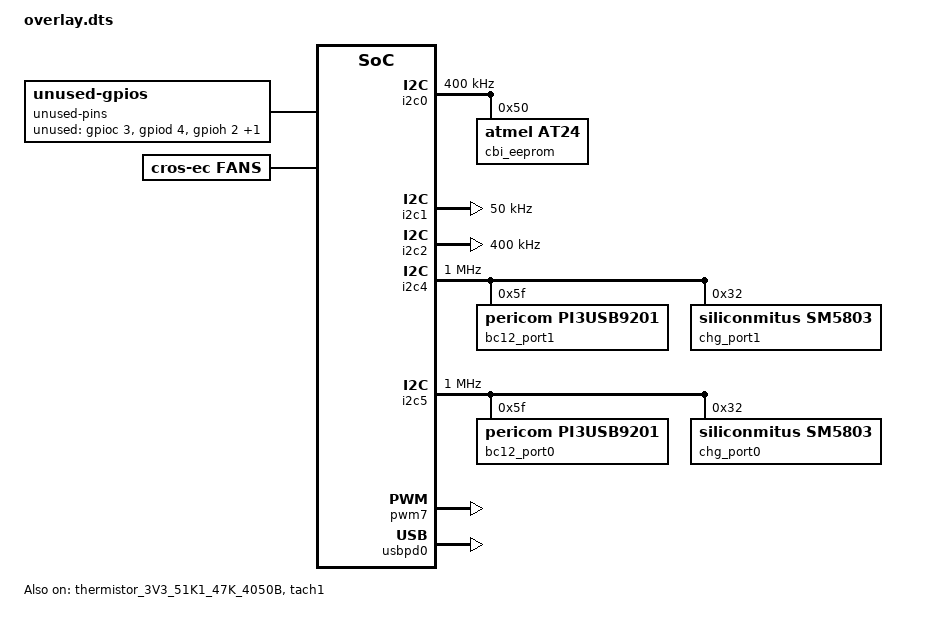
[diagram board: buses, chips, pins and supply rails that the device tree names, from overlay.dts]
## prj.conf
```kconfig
# Copyright 2021 The ChromiumOS Authors
# Use of this source code is governed by a BSD-style license that can be
# found in the LICENSE file.

# EC chip configuration: IT83102
CONFIG_BOARD_JOXER=y
CONFIG_CROS_FLASH_IT8XXX2=y
CONFIG_CROS_SYSTEM_IT8XXX2=y
CONFIG_ESPI_IT8XXX2=y
CONFIG_FPU=y
# rv32iafc/ilp32f is not supported by the toolchain, so use soft-float
CONFIG_FLOAT_HARD=n
CONFIG_TACH_IT8XXX2=y

# Allow more time for the charger to stabilise
CONFIG_PLATFORM_EC_POWER_BUTTON_INIT_TIMEOUT=5

# RAM savings, since this chip is tight on available RAM.
# It's useful to store a lot of logs for the host to request, but the default 4k
# is pretty large.
CONFIG_PLATFORM_EC_HOSTCMD_CONSOLE_BUF_SIZE=2048
# Our threads have short names, save 20 bytes per thread
CONFIG_THREAD_MAX_NAME_LEN=12
# Task stacks, tuned by experiment. Most expanded to prevent overflow, and a few
# shrunk to save RAM.
CONFIG_AP_PWRSEQ_STACK_SIZE=1408
CONFIG_TASK_HOSTCMD_STACK_SIZE=1280
CONFIG_TASK_MOTIONSENSE_STACK_SIZE=1280
CONFIG_TASK_PD_INT_STACK_SIZE=1280
CONFIG_TASK_DPS_STACK_SIZE=1408

# Ensure recovery key combination (esc+refresh+power) is reliable: b/236580049
CONFIG_PLATFORM_EC_KEYBOARD_PWRBTN_ASSERTS_KSI3=y
CONFIG_PLATFORM_EC_KEYBOARD_REFRESH_ROW3=y

# Sensor drivers
CONFIG_PLATFORM_EC_ACCELGYRO_BMI_COMM_I2C=y
CONFIG_PLATFORM_EC_ACCELGYRO_BMI3XX=y
CONFIG_PLATFORM_EC_ACCEL_BMA4XX=y

# TCPC+PPC: ITE on-chip for C0, PS8745 for optional C1
CONFIG_PLATFORM_EC_USB_PD_TCPM_ITE_ON_CHIP=y
CONFIG_PLATFORM_EC_USB_PD_TCPM_DRIVER_IT8XXX2=y
CONFIG_PLATFORM_EC_USB_PD_TCPM_PS8745=y
CONFIG_PLATFORM_EC_USB_PD_VBUS_DETECT_CHARGER=y
# SM5803 controls power path on both ports
CONFIG_PLATFORM_EC_USB_PD_5V_CHARGER_CTRL=y
# SM5803 can discharge VBUS, but not via one of the available options;
# pd_power_supply_reset() does discharge.
CONFIG_PLATFORM_EC_USB_PD_DISCHARGE=n
# The EC is put into programming mode while firmware is running
# (after releasing reset) and PD after being reset will hard-reset
# the port if a contract was already set up. If the system has no
# battery, this will prevent programming because it will brown out
# the system and reset. Inserting a delay gives the programmer more
# time to put the EC into programming mode.
CONFIG_PLATFORM_EC_USB_PD_STARTUP_DELAY_MS=2000

# Charger driver and configuration
CONFIG_PLATFORM_EC_OCPC=y
CONFIG_PLATFORM_EC_CHARGER_SM5803=y
CONFIG_PLATFORM_EC_OCPC_DEF_RBATT_MOHMS=21
CONFIG_PLATFORM_EC_PD_MAX_VOLTAGE_MV=15000

# VSENSE: PP3300_S5 & PP1050_PROC
CONFIG_VCMP_IT8XXX2=y
CONFIG_SENSOR=y
CONFIG_SENSOR_SHELL=n

# LED
CONFIG_PLATFORM_EC_LED_PWM=n
CONFIG_PLATFORM_EC_LED_COMMON=y
```

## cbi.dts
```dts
/* Copyright 2022 The Chromium OS Authors. All rights reserved.
 * Use of this source code is governed by a BSD-style license that can be
 * found in the LICENSE file.
 */

/ {
	nissa-fw-config {
		compatible = "cros-ec,cbi-fw-config";

		/*
		 * FW_CONFIG field to indicate which keyboard layout
		 * should be used.
		 */
		keyboard {
			enum-name = "FW_KB_LAYOUT";
			start = <3>;
			size = <2>;

			layout-1 {
				compatible = "cros-ec,cbi-fw-config-value";
				enum-name = "FW_KB_LAYOUT_DEFAULT";
				value = <0>;
			};
			layout-2 {
				compatible = "cros-ec,cbi-fw-config-value";
				enum-name = "FW_KB_LAYOUT_US2";
				value = <1>;
			};
		};
	};
};
```

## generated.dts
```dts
/* Copyright 2022 The Chromium OS Authors. All rights reserved.
 * Use of this source code is governed by a BSD-style license that can be
 * found in the LICENSE file.
 *
 * This file is auto-generated - do not edit!
 */

/ {

	named-adc-channels {
		compatible = "named-adc-channels";

		adc_ec_vsense_pp1050_proc: ec_vsense_pp1050_proc {
			enum-name = "ADC_PP1050_PROC";
			io-channels = <&adc0 14>;
		};
		adc_ec_vsense_pp3300_s5: ec_vsense_pp3300_s5 {
			enum-name = "ADC_PP3300_S5";
			io-channels = <&adc0 0>;
		};
		adc_temp_sensor_1: temp_sensor_1 {
			enum-name = "ADC_TEMP_SENSOR_1";
			io-channels = <&adc0 2>;
		};
		adc_temp_sensor_2: temp_sensor_2 {
			enum-name = "ADC_TEMP_SENSOR_2";
			io-channels = <&adc0 3>;
		};
		adc_temp_sensor_3: temp_sensor_3 {
			enum-name = "ADC_TEMP_SENSOR_3";
			io-channels = <&adc0 13>;
		};
	};

	named-gpios {
		compatible = "named-gpios";

		gpio_acc_int_l: acc_int_l {
			gpios = <&gpioc 0 GPIO_INPUT>;
		};
		gpio_all_sys_pwrgd: all_sys_pwrgd {
			gpios = <&gpiob 7 GPIO_INPUT>;
		};
		gpio_ccd_mode_odl: ccd_mode_odl {
			gpios = <&gpioh 5 GPIO_INPUT>;
			enum-name = "GPIO_CCD_MODE_ODL";
		};
		gpio_cpu_c10_gate_l: cpu_c10_gate_l {
			gpios = <&gpiog 1 GPIO_INPUT>;
		};
		gpio_ec_battery_pres_odl: ec_battery_pres_odl {
			gpios = <&gpioi 4 GPIO_INPUT>;
			enum-name = "GPIO_BATT_PRES_ODL";
		};
		gpio_ec_cbi_wp: ec_cbi_wp {
			gpios = <&gpioj 5 GPIO_OUTPUT>;
		};
		gpio_ec_edp_bl_en_od: ec_edp_bl_en_od {
			gpios = <&gpiok 4 GPIO_ODR_HIGH>;
			enum-name = "GPIO_ENABLE_BACKLIGHT";
		};
		gpio_ec_entering_rw: ec_entering_rw {
			gpios = <&gpioc 7 GPIO_OUTPUT>;
			enum-name = "GPIO_ENTERING_RW";
		};
		gpio_ec_gsc_packet_mode: ec_gsc_packet_mode {
			gpios = <&gpioh 1 GPIO_OUTPUT>;
			enum-name = "GPIO_PACKET_MODE_EN";
		};
		gpio_ec_pch_wake_odl: ec_pch_wake_odl {
			gpios = <&gpiob 2 GPIO_ODR_LOW>;
		};
		gpio_ec_prochot_odl: ec_prochot_odl {
			gpios = <&gpioi 1 GPIO_ODR_HIGH>;
			enum-name = "GPIO_CPU_PROCHOT";
		};
		gpio_ec_soc_dsw_pwrok: ec_soc_dsw_pwrok {
			gpios = <&gpiol 7 GPIO_OUTPUT>;
		};
		gpio_ec_soc_hdmi_hpd: ec_soc_hdmi_hpd {
			gpios = <&gpiok 7 GPIO_OUTPUT>;
		};
		gpio_ec_soc_int_odl: ec_soc_int_odl {
			gpios = <&gpiod 5 GPIO_ODR_HIGH>;
			enum-name = "GPIO_EC_INT_L";
		};
		gpio_ec_soc_pch_pwrok_od: ec_soc_pch_pwrok_od {
			gpios = <&gpiod 6 GPIO_ODR_HIGH>;
		};
		gpio_ec_soc_pwr_btn_odl: ec_soc_pwr_btn_odl {
			gpios = <&gpiob 6 GPIO_ODR_HIGH>;
			enum-name = "GPIO_PCH_PWRBTN_L";
		};
		gpio_ec_soc_rsmrst_l: ec_soc_rsmrst_l {
			gpios = <&gpioh 0 GPIO_OUTPUT>;
		};
		gpio_ec_soc_rtcrst: ec_soc_rtcrst {
			gpios = <&gpiok 2 GPIO_OUTPUT>;
		};
		gpio_ec_soc_sys_pwrok: ec_soc_sys_pwrok {
			gpios = <&gpiof 2 GPIO_OUTPUT>;
		};
		gpio_ec_soc_vccst_pwrgd_od: ec_soc_vccst_pwrgd_od {
			gpios = <&gpioe 5 GPIO_ODR_HIGH>;
		};
		gpio_ec_wp_odl: ec_wp_odl {
			gpios = <&gpioa 6 (GPIO_INPUT | GPIO_ACTIVE_LOW)>;
		};
		gpio_en_kb_bl: en_kb_bl {
			gpios = <&gpioj 3 GPIO_OUTPUT>;
			enum-name = "GPIO_EN_KEYBOARD_BACKLIGHT";
		};
		gpio_en_pp3300_s5: en_pp3300_s5 {
			gpios = <&gpioc 5 GPIO_OUTPUT>;
			enum-name = "GPIO_TEMP_SENSOR_POWER";
		};
		gpio_en_pp5000_pen_x: en_pp5000_pen_x {
			gpios = <&gpiob 5 GPIO_OUTPUT>;
		};
		gpio_en_pp5000_s5: en_pp5000_s5 {
			gpios = <&gpiok 5 GPIO_OUTPUT>;
		};
		gpio_en_slp_z: en_slp_z {
			gpios = <&gpiok 3 GPIO_OUTPUT>;
		};
		gpio_en_usb_a0_vbus: en_usb_a0_vbus {
			gpios = <&gpiol 6 GPIO_OUTPUT>;
		};
		gpio_en_usb_c0_cc1_vconn: en_usb_c0_cc1_vconn {
			gpios = <&gpioh 4 GPIO_OUTPUT>;
		};
		gpio_en_usb_c0_cc2_vconn: en_usb_c0_cc2_vconn {
			gpios = <&gpioh 6 GPIO_OUTPUT>;
		};
		gpio_gsc_ec_pwr_btn_odl: gsc_ec_pwr_btn_odl {
			gpios = <&gpioe 2 GPIO_INPUT_PULL_UP>;
			enum-name = "GPIO_POWER_BUTTON_L";
		};
		gpio_hdmi_sel: hdmi_sel {
			gpios = <&gpioc 6 GPIO_OUTPUT>;
		};
		gpio_imu_int_l: imu_int_l {
			gpios = <&gpioj 0 GPIO_INPUT>;
		};
		gpio_imvp91_vrrdy_od: imvp91_vrrdy_od {
			gpios = <&gpioj 4 GPIO_INPUT>;
		};
		gpio_lid_open: lid_open {
			gpios = <&gpiof 3 GPIO_INPUT>;
			enum-name = "GPIO_LID_OPEN";
		};
		gpio_pen_detect_odl: pen_detect_odl {
			gpios = <&gpioj 1 GPIO_INPUT_PULL_UP>;
		};
		gpio_pg_pp1050_mem_s3_od: pg_pp1050_mem_s3_od {
			gpios = <&gpiod 3 GPIO_INPUT>;
		};
		gpio_pg_pp5000_s5_od: pg_pp5000_s5_od {
			gpios = <&gpioe 3 GPIO_INPUT>;
		};
		gpio_rsmrst_pwrgd_l: rsmrst_pwrgd_l {
			gpios = <&gpioe 1 GPIO_INPUT_PULL_UP>;
		};
		gpio_slp_s0_l: slp_s0_l {
			gpios = <&gpioe 4 GPIO_INPUT>;
		};
		gpio_slp_s3_l: slp_s3_l {
			gpios = <&gpioh 3 GPIO_INPUT>;
		};
		gpio_slp_s4_l: slp_s4_l {
			gpios = <&gpioi 5 GPIO_INPUT>;
		};
		gpio_slp_sus_l: slp_sus_l {
			gpios = <&gpiog 2 GPIO_INPUT>;
		};
		gpio_sub_usb_a1_ilimit_sdp: sub_usb_a1_ilimit_sdp {
			gpios = <&gpiof 1 GPIO_OUTPUT>;
			enum-name = "GPIO_USB2_ILIM_SEL";
		};
		gpio_sys_rst_odl: sys_rst_odl {
			gpios = <&gpiod 1 GPIO_ODR_HIGH>;
		};
		gpio_tablet_mode_l: tablet_mode_l {
			gpios = <&gpioj 7 GPIO_INPUT>;
			enum-name = "GPIO_TABLET_MODE_L";
		};
		gpio_usb_a0_ilimit_sdp: usb_a0_ilimit_sdp {
			gpios = <&gpiol 5 GPIO_OUTPUT>;
			enum-name = "GPIO_USB1_ILIM_SEL";
		};
		gpio_usb_c0_frs: usb_c0_frs {
			gpios = <&gpioc 4 GPIO_OUTPUT>;
		};
		gpio_usb_c0_int_odl: usb_c0_int_odl {
			gpios = <&gpiok 0 GPIO_INPUT_PULL_UP>;
		};
		gpio_vccin_aux_vid0: vccin_aux_vid0 {
			gpios = <&gpiod 0 GPIO_INPUT>;
		};
		gpio_vccin_aux_vid1: vccin_aux_vid1 {
			gpios = <&gpiok 1 GPIO_INPUT>;
		};
		gpio_voldn_btn_odl: voldn_btn_odl {
			gpios = <&gpioi 6 GPIO_INPUT_PULL_UP>;
			enum-name = "GPIO_VOLUME_DOWN_L";
		};
		gpio_volup_btn_odl: volup_btn_odl {
			gpios = <&gpioi 7 GPIO_INPUT_PULL_UP>;
			enum-name = "GPIO_VOLUME_UP_L";
		};
	};

	named-i2c-ports {
		compatible = "named-i2c-ports";

		i2c_ec_i2c_eeprom: ec_i2c_eeprom {
			i2c-port = <&i2c0>;
			enum-names = "I2C_PORT_EEPROM";
		};
		i2c_ec_i2c_batt: ec_i2c_batt {
			i2c-port = <&i2c1>;
			enum-names = "I2C_PORT_BATTERY";
		};
		i2c_ec_i2c_sensor: ec_i2c_sensor {
			i2c-port = <&i2c2>;
			enum-names = "I2C_PORT_SENSOR";
		};
		i2c_ec_i2c_sub_usb_c1: ec_i2c_sub_usb_c1 {
			i2c-port = <&i2c4>;
			enum-names = "I2C_PORT_USB_C1_TCPC";
		};
		i2c_ec_i2c_usb_c0: ec_i2c_usb_c0 {
			i2c-port = <&i2c5>;
			enum-names = "I2C_PORT_USB_C0_TCPC";
		};
	};
};

&adc0 {
	status = "okay";
};

&i2c0 {
	status = "okay";
};

&i2c1 {
	status = "okay";
};

&i2c2 {
	status = "okay";
};

&i2c4 {
	status = "okay";
};

&i2c5 {
	status = "okay";
};
```

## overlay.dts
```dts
/* Copyright 2021 The Chromium OS Authors. All rights reserved.
 * Use of this source code is governed by a BSD-style license that can be
 * found in the LICENSE file.
 */

#include <cros/thermistor/thermistor.dtsi>

/ {
	aliases {
		gpio-cbi-wp = &gpio_ec_cbi_wp;
		gpio-wp = &gpio_ec_wp_odl;
		int-wp = &int_wp_l;
	};

	ec-console {
		compatible = "ec-console";
		disabled = "events", "lpc", "hostcmd";
	};

	batteries {
		default_battery: cosmx {
			compatible = "cosmx,gh02047xl", "battery-smart";
		};
		dynapack_atl_gh02047xl {
			compatible = "dynapack,atl_gh02047xl", "battery-smart";
		};
		dynapack_cosmx_gh02047xl {
			compatible = "dynapack,cosmx_gh02047xl", "battery-smart";
		};
		smp_coslight_gh02047xl {
			compatible = "smp,coslight_gh02047xl", "battery-smart";
		};
		smp_highpower_gh02047xl {
			compatible = "smp,highpower_gh02047xl", "battery-smart";
		};
	};

	hibernate-wake-pins {
		compatible = "cros-ec,hibernate-wake-pins";
		wakeup-irqs = <
			&int_power_button
			&int_lid_open
		>;
	};

	gpio-interrupts {
		compatible = "cros-ec,gpio-interrupts";

		int_power_button: power_button {
			irq-pin = <&gpio_gsc_ec_pwr_btn_odl>;
			flags = <GPIO_INT_EDGE_BOTH>;
			handler = "power_button_interrupt";
		};
		int_vol_down: vol_down {
			irq-pin = <&gpio_voldn_btn_odl>;
			flags = <GPIO_INT_EDGE_BOTH>;
			handler = "button_interrupt";
		};
		int_vol_up: vol_up {
			irq-pin = <&gpio_volup_btn_odl>;
			flags = <GPIO_INT_EDGE_BOTH>;
			handler = "button_interrupt";
		};
		int_wp_l: wp_l {
			irq-pin = <&gpio_ec_wp_odl>;
			flags = <GPIO_INT_EDGE_BOTH>;
			handler = "switch_interrupt";
		};
		int_lid_open: lid_open {
			irq-pin = <&gpio_lid_open>;
			flags = <GPIO_INT_EDGE_BOTH>;
			handler = "lid_interrupt";
		};
		int_tablet_mode: tablet_mode {
			irq-pin = <&gpio_tablet_mode_l>;
			flags = <GPIO_INT_EDGE_BOTH>;
			handler = "gmr_tablet_switch_isr";
		};
		int_imu: ec_imu {
		  irq-pin = <&gpio_imu_int_l>;
		  flags = <GPIO_INT_EDGE_FALLING>;
		  handler = "bmi3xx_interrupt";
		};
		int_usb_c0: usb_c0 {
			irq-pin = <&gpio_usb_c0_int_odl>;
			flags = <GPIO_INT_EDGE_FALLING>;
			handler = "usb_c0_interrupt";
		};
		int_usb_c1: usb_c1 {
			irq-pin = <&gpio_sb_1>;
			flags = <GPIO_INT_EDGE_FALLING>;
			handler = "usb_c1_interrupt";
		};
	};

	unused-pins {
		compatible = "unused-gpios";
		unused-gpios = <&gpioc 3 0>,
			       <&gpiod 4 0>,
			       <&gpioh 2 0>,
			       <&gpiol 4 0>;
	};

	named-gpios {
		/*
		 * EC doesn't take any specific action on CC/SBU disconnect due to
		 * fault, but this definition is useful for hardware testing.
		 */
		gpio_usb_c0_prot_fault_odl: usb_c0_prot_fault_odl {
			gpios = <&gpiok 6 GPIO_INPUT_PULL_UP>;
		};

		gpio_sb_1: sb_1 {
			gpios = <&gpioe 6 0>;
			no-auto-init;
		};
		gpio_sb_2: sb_2 {
			gpios = <&gpiof 0 0>;
			no-auto-init;
		};

		gpio_sb_3: sb_3 {
			gpios = <&gpioe 7 0>;
			no-auto-init;
		};
		gpio_sb_4: sb_4 {
			gpios = <&gpioe 0 0>;
			no-auto-init;
		};
		gpio_fan_enable: fan-enable {
			gpios = <&gpiol 4 GPIO_OUTPUT>;
			no-auto-init;
		};
		gpio_power_led_gate: power_led_gate {
			gpios = <&gpiof 1 GPIO_OUTPUT_LOW>;
		};
		gpio_led_1_odl: led_1_odl {
			gpios = <&gpioa 1 GPIO_OUTPUT_HIGH>;
		};
		gpio_led_2_odl: led_2_odl {
			gpios = <&gpioa 2 GPIO_OUTPUT_HIGH>;
		};
		gpio_led_3_l: led_3_l {
			gpios = <&gpiol 2 GPIO_OUTPUT_HIGH>;
		};
		gpio_led_4_l: led_4_l {
			gpios = <&gpiol 3 GPIO_OUTPUT_HIGH>;
		};
	};

	/*
	 * Aliases used for sub-board GPIOs.
	 */
	aliases {
	  /* USB-C: interrupt input. I2C pins are on i2c_ec_i2c_sub_usb_c1 */
		gpio-usb-c1-int-odl = &gpio_sb_1;
		/*
		 * USB-A: VBUS enable output
		 * LTE: power enable output
		 */
		gpio-en-usb-a1-vbus = &gpio_sb_2;
		/*
		 * HDMI: power enable output, HDMI enable output,
		 * and HPD input
		 */
		gpio-en-rails-odl = &gpio_sb_1;
		gpio-hdmi-en-odl = &gpio_sb_4;
		gpio-hpd-odl = &gpio_sb_3;
		/*
		 * Enable S5 rails for LTE sub-board
		 */
		gpio-en-sub-s5-rails = &gpio_sb_2;
	};

	named-temp-sensors {
		memory {
			compatible = "cros-ec,temp-sensor-thermistor",
				     "cros-ec,temp-sensor";
			thermistor = <&thermistor_3V3_51K1_47K_4050B>;
			enum-name = "TEMP_SENSOR_1";
			temp_fan_off = <35>;
			temp_fan_max = <60>;
			temp_host_high = <85>;
			temp_host_halt = <90>;
			temp_host_release_high = <80>;
			adc = <&adc_temp_sensor_1>;
			power-good-pin = <&gpio_ec_soc_dsw_pwrok>;
		};
		charger {
			compatible = "cros-ec,temp-sensor-thermistor",
				     "cros-ec,temp-sensor";
			thermistor = <&thermistor_3V3_51K1_47K_4050B>;
			enum-name = "TEMP_SENSOR_CHARGER";
			temp_fan_off = <35>;
			temp_fan_max = <60>;
			temp_host_high = <85>;
			temp_host_halt = <90>;
			temp_host_release_high = <80>;
			adc = <&adc_temp_sensor_2>;
			power-good-pin = <&gpio_ec_soc_dsw_pwrok>;
		};
		ambient {
			compatible = "cros-ec,temp-sensor-thermistor",
				     "cros-ec,temp-sensor";
			thermistor = <&thermistor_3V3_51K1_47K_4050B>;
			enum-name = "TEMP_SENSOR_AMB";
			temp_fan_off = <35>;
			temp_fan_max = <60>;
			temp_host_high = <85>;
			temp_host_halt = <90>;
			temp_host_release_high = <80>;
			adc = <&adc_temp_sensor_3>;
			power-good-pin = <&gpio_ec_soc_dsw_pwrok>;
		};
	};

	usba {
		compatible = "cros-ec,usba-port-enable-pins";
		/*
		 * sb_2 is only configured as GPIO when USB-A1 is present,
		 * but it's still safe to control when disabled.
		 *
		 * ILIM_SEL pins are referred to by legacy enum name,
		 * GPIO_USB*_ILIM_SEL. The one for port A1 is unused on
		 * sub-boards that don't have USB-A so is safe to control
		 * regardless of system configuration.
		 */
		enable-pins = <&gpio_en_usb_a0_vbus &gpio_sb_2>;
		status = "okay";
	};

	usbc {
		#address-cells = <1>;
		#size-cells = <0>;

		port0@0 {
			compatible = "named-usbc-port";
			reg = <0>;
			bc12 = <&bc12_port0>;
			chg = <&chg_port0>;
			usb-mux-chain-0 {
				compatible = "cros-ec,usb-mux-chain";
				usb-muxes = <&virtual_mux_0>;
			};
		};
		port0-muxes {
			virtual_mux_0: virtual-mux-0 {
				compatible = "cros-ec,usbc-mux-virtual";
			};
		};
		port1@1 {
			compatible = "named-usbc-port";
			reg = <1>;
			bc12 = <&bc12_port1>;
			chg = <&chg_port1>;
			usb-mux-chain-1 {
				compatible = "cros-ec,usb-mux-chain";
				usb-muxes = <&virtual_mux_1 &tcpci_mux_1>;
			};
			usb_mux_chain_1_no_mux: usb-mux-chain-1-no-mux {
				compatible = "cros-ec,usb-mux-chain";
				alternative-chain;
				usb-muxes = <&virtual_mux_1>;
			};
		};
		port1-muxes {
			virtual_mux_1: virtual-mux-1 {
				compatible = "cros-ec,usbc-mux-virtual";
			};
			tcpci_mux_1: tcpci-mux-1 {
				compatible = "parade,usbc-mux-ps8xxx";
			};
		};
	};
	fans {
		compatible = "cros-ec,fans";

		fan_0 {
			pwms = <&pwm7 PWM_CHANNEL_7 PWM_KHZ(30) PWM_POLARITY_NORMAL>;
			tach = <&tach1>;
			rpm_min = <1500>;
			rpm_start = <1500>;
			rpm_max = <6500>;
			enable_gpio = <&gpio_fan_enable>;
		};
	};
};

&gpio_acc_int_l {
	gpios = <&gpioc 0 (GPIO_INPUT | GPIO_VOLTAGE_1P8)>;
};
&gpio_imu_int_l {
	gpios = <&gpioj 0 (GPIO_INPUT | GPIO_VOLTAGE_1P8)>;
};
&gpio_vccin_aux_vid0 {
	gpios = <&gpiod 0 (GPIO_INPUT | GPIO_VOLTAGE_1P8)>;
};
&gpio_vccin_aux_vid1 {
	gpios = <&gpiok 1 (GPIO_INPUT | GPIO_VOLTAGE_1P8)>;
};

&gpio_ec_prochot_odl {
	gpios = <&gpioi 1 (GPIO_ODR_HIGH | GPIO_VOLTAGE_1P8)>;
};

&thermistor_3V3_51K1_47K_4050B {
	status = "okay";
};

&adc_ec_vsense_pp3300_s5 {
	/*
	 * Voltage divider on input has 47k upper and 220k lower legs with 3 V
	 * full-scale reading on the ADC. Apply the largest possible multiplier
	 * (without overflowing int32) to get the best possible approximation
	 * of the actual ratio, but derate by a factor of two to ensure
	 * unexpectedly high values won't overflow.
	 */
	mul = <(715828 / 2)>;
	div = <(589820 / 2)>;
};

&adc0 {
	pinctrl-0 = <&adc0_ch0_gpi0_default
		     &adc0_ch2_gpi2_default
		     &adc0_ch3_gpi3_default
		     &adc0_ch13_gpl0_default
		     &adc0_ch14_gpl1_default>;
	pinctrl-names = "default";
};

&pinctrl {
	i2c2_clk_gpf6_default: i2c2_clk_gpf6_default {
		gpio-voltage = "1v8";
	};
	i2c2_data_gpf7_default: i2c2_data_gpf7_default {
		gpio-voltage = "1v8";
	};
};


&i2c0 {
	label = "I2C_EEPROM";
	clock-frequency = <I2C_BITRATE_FAST>;

	cbi_eeprom: eeprom@50 {
		compatible = "atmel,at24";
		reg = <0x50>;
		size = <2048>;
		pagesize = <16>;
		address-width = <8>;
		timeout = <5>;
	};
	pinctrl-0 = <&i2c0_clk_gpb3_default
		     &i2c0_data_gpb4_default>;
	pinctrl-names = "default";
};

&i2c1 {
	label = "I2C_BATTERY";
	clock-frequency = <50000>;
	pinctrl-0 = <&i2c1_clk_gpc1_default
		     &i2c1_data_gpc2_default>;
	pinctrl-names = "default";
};

&i2c2 {
	label = "I2C_SENSOR";
	clock-frequency = <I2C_BITRATE_FAST>;
	pinctrl-0 = <&i2c2_clk_gpf6_default
		     &i2c2_data_gpf7_default>;
	pinctrl-names = "default";
};

&i2c4 {
	label = "I2C_SUB_C1_TCPC";
	clock-frequency = <I2C_BITRATE_FAST_PLUS>;
	pinctrl-0 = <&i2c4_clk_gpe0_default
		     &i2c4_data_gpe7_default>;
	pinctrl-names = "default";

	bc12_port1: pi3usb9201@5f {
		compatible = "pericom,pi3usb9201";
		status = "okay";
		reg = <0x5f>;
	};

	chg_port1: sm5803@32 {
		compatible = "siliconmitus,sm5803";
		status = "okay";
		reg = <0x32>;
	};
};

&i2c_ec_i2c_sub_usb_c1 {
	/*
	 * Dynamic speed setting is used for AP-controlled firmware update
	 * of PS8745 TCPC/redriver: the AP lowers speed to 400 kHz in order
	 * to use more efficient window programming, then sets it back when
	 * done.
	 */
	dynamic-speed;
};

&i2c5 {
	label = "I2C_USB_C0_TCPC";
	clock-frequency = <I2C_BITRATE_FAST_PLUS>;
	pinctrl-0 = <&i2c5_clk_gpa4_default
		     &i2c5_data_gpa5_default>;
	pinctrl-names = "default";

	bc12_port0: pi3usb9201@5f {
		compatible = "pericom,pi3usb9201";
		status = "okay";
		reg = <0x5f>;
	};

	chg_port0: sm5803@32 {
		compatible = "siliconmitus,sm5803";
		status = "okay";
		reg = <0x32>;
	};
};

/* pwm for fan */
&pwm7 {
	status = "okay";
	prescaler-cx = <PWM_PRESCALER_C4>;
	pinctrl-0 = <&pwm7_gpa7_default>;
	pinctrl-names = "default";
};

/* fan tachometer sensor */
&tach1 {
	status = "okay";
	channel = <IT8XXX2_TACH_CHANNEL_A>;
	pulses-per-round = <2>;
	pinctrl-0 = <&tach1a_gpd7_default>;
	pinctrl-names = "default";
};

&usbpd0 {
	status = "okay";
};
```

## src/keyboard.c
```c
/* Copyright 2022 The ChromiumOS Authors
 * Use of this source code is governed by a BSD-style license that can be
 * found in the LICENSE file.
 */

#include <zephyr/devicetree.h>
#include <zephyr/drivers/gpio.h>
#include <zephyr/logging/log.h>

#include "cros_cbi.h"
#include "ec_commands.h"
#include "gpio/gpio.h"
#include "hooks.h"
#include "keyboard_8042_sharedlib.h"

LOG_MODULE_DECLARE(nissa, CONFIG_NISSA_LOG_LEVEL);

static const struct ec_response_keybd_config joxer_kb_legacy = {
	.num_top_row_keys = 13,
	.action_keys = {
		TK_BACK,		/* T1 */
		TK_REFRESH,		/* T2 */
		TK_FULLSCREEN,		/* T3 */
		TK_OVERVIEW,		/* T4 */
		TK_SNAPSHOT,		/* T5 */
		TK_BRIGHTNESS_DOWN,	/* T6 */
		TK_BRIGHTNESS_UP,	/* T7 */
		TK_KBD_BKLIGHT_TOGGLE,	/* T8 */
		TK_PLAY_PAUSE,		/* T9 */
		TK_MICMUTE,		/* T10 */
		TK_VOL_MUTE,		/* T11 */
		TK_VOL_DOWN,		/* T12 */
		TK_VOL_UP,		/* T13 */
	},
	.capabilities = KEYBD_CAP_SCRNLOCK_KEY,
};

__override const struct ec_response_keybd_config *
board_vivaldi_keybd_config(void)
{
	return &joxer_kb_legacy;
}

/*
 * Keyboard layout decided by FW config.
 */
static void kb_layout_init(void)
{
	int ret;
	uint32_t val;
	/*
	 * Retrieve the kb layout config.
	 */
	ret = cros_cbi_get_fw_config(FW_KB_LAYOUT, &val);
	if (ret != 0) {
		LOG_ERR("Error retrieving CBI FW_CONFIG field %d",
			FW_KB_LAYOUT);
		return;
	}
	/*
	 * If keyboard is US2(FW_KB_LAYOUT_US2), we need translate right ctrl
	 * to backslash(\|) key.
	 */
	if (val == FW_KB_LAYOUT_US2)
		set_scancode_set2(4, 0, get_scancode_set2(2, 7));
}
DECLARE_HOOK(HOOK_INIT, kb_layout_init, HOOK_PRIO_POST_FIRST);
```

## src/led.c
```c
/* Copyright 2022 The Chromium OS Authors. All rights reserved.
 * Use of this source code is governed by a BSD-style license that can be
 * found in the LICENSE file.
 *
 * Battery LED control for nissa
 */
#include <stdint.h>

#include "charge_manager.h"
#include "common.h"
#include "compile_time_macros.h"
#include "ec_commands.h"
#include "gpio.h"
#include "led_common.h"
#include "led_onoff_states.h"
#include "pwm.h"
#include "util.h"

#define BAT_LED_ON_LVL 0
#define BAT_LED_OFF_LVL 1

#define PWR_LED_ON_LVL 1
#define PWR_LED_OFF_LVL 0

#define LED_SIDESEL_MB_PORT 0
#define LED_SIDESEL_DB_PORT 1

__override const int led_charge_lvl_1 = 5;
__override const int led_charge_lvl_2 = 95;

__override struct led_descriptor
	led_bat_state_table[LED_NUM_STATES][LED_NUM_PHASES] = {
		[STATE_CHARGING_LVL_1] = { { EC_LED_COLOR_AMBER,
					     LED_INDEFINITE } },
		[STATE_CHARGING_LVL_2] = { { EC_LED_COLOR_AMBER,
					     LED_INDEFINITE } },
		[STATE_CHARGING_FULL_CHARGE] = { { EC_LED_COLOR_WHITE,
						   LED_INDEFINITE } },
		[STATE_DISCHARGE_S0] = { { LED_OFF, LED_INDEFINITE } },
		[STATE_DISCHARGE_S0_BAT_LOW] = { { EC_LED_COLOR_AMBER,
						   1 * LED_ONE_SEC },
						 { LED_OFF, 1 * LED_ONE_SEC } },
		[STATE_DISCHARGE_S3] = { { LED_OFF, LED_INDEFINITE } },
		[STATE_DISCHARGE_S5] = { { LED_OFF, LED_INDEFINITE } },
		[STATE_BATTERY_ERROR] = { { EC_LED_COLOR_AMBER,
					    0.5 * LED_ONE_SEC },
					  { LED_OFF, 0.5 * LED_ONE_SEC } },
		[STATE_FACTORY_TEST] = { { EC_LED_COLOR_WHITE,
					   1 * LED_ONE_SEC },
					 { LED_OFF, 1 * LED_ONE_SEC } },
	};

__override const struct led_descriptor
	led_pwr_state_table[PWR_LED_NUM_STATES][LED_NUM_PHASES] = {
		[PWR_LED_STATE_ON] = { { EC_LED_COLOR_WHITE, LED_INDEFINITE } },
		[PWR_LED_STATE_SUSPEND_AC]   =  { { EC_LED_COLOR_WHITE,
						1 * LED_ONE_SEC },
						{ LED_OFF, 1 * LED_ONE_SEC } },
		[PWR_LED_STATE_SUSPEND_NO_AC] = { { EC_LED_COLOR_WHITE,
						1 * LED_ONE_SEC },
						{ LED_OFF, 1 * LED_ONE_SEC } },
		[PWR_LED_STATE_OFF] = { { LED_OFF, LED_INDEFINITE } },
	};

const enum ec_led_id supported_led_ids[] = {
	EC_LED_ID_BATTERY_LED,
	EC_LED_ID_POWER_LED,
};

const int supported_led_ids_count = ARRAY_SIZE(supported_led_ids);

__override void led_set_color_battery(enum ec_led_colors color)
{
	int port;

	/* There are four battery leds, LED1/LED2 are on MB side and
	 * LED3/LED4 are on DB side. All leds are OFF by default.
	 */
	int led1, led2, led3, led4;

	led1 = led2 = led3 = led4 = BAT_LED_OFF_LVL;

	/* Check which port is the charging port,
	 * and turn on the corresponding led.
	 */
	if (led_auto_control_is_enabled(EC_LED_ID_BATTERY_LED)) {
		port = charge_manager_get_active_charge_port();
		switch (port) {
		case LED_SIDESEL_MB_PORT:
			switch (color) {
			case EC_LED_COLOR_AMBER:
				led1 = BAT_LED_ON_LVL;
				break;
			case EC_LED_COLOR_WHITE:
				led2 = BAT_LED_ON_LVL;
				break;
			default: /* LED_OFF and other unsupported colors */
				break;
			}
			break;
		case LED_SIDESEL_DB_PORT:
			switch (color) {
			case EC_LED_COLOR_AMBER:
				led3 = BAT_LED_ON_LVL;
				break;
			case EC_LED_COLOR_WHITE:
				led4 = BAT_LED_ON_LVL;
				break;
			default: /* LED_OFF and other unsupported colors */
				break;
			}
			break;
		default: /* Unknown charging port */
			break;
		}
	} else {
		switch (color) {
		case EC_LED_COLOR_AMBER:
			led1 = BAT_LED_ON_LVL;
			led3 = BAT_LED_ON_LVL;
			break;
		case EC_LED_COLOR_WHITE:
			led2 = BAT_LED_ON_LVL;
			led4 = BAT_LED_ON_LVL;
			break;
		default: /* LED_OFF and other unsupported colors */
			break;
		}
	}

	gpio_pin_set_dt(
			GPIO_DT_FROM_NODELABEL(gpio_led_1_odl),
			led1);
	gpio_pin_set_dt(
			GPIO_DT_FROM_NODELABEL(gpio_led_2_odl),
			led2);
	gpio_pin_set_dt(
			GPIO_DT_FROM_NODELABEL(gpio_led_3_l),
			led3);
	gpio_pin_set_dt(
			GPIO_DT_FROM_NODELABEL(gpio_led_4_l),
			led4);
}

__override void led_set_color_power(enum ec_led_colors color)
{
	if (color == EC_LED_COLOR_WHITE)
		gpio_pin_set_dt(
			GPIO_DT_FROM_NODELABEL(gpio_power_led_gate),
			PWR_LED_ON_LVL);
	else
		/* LED_OFF and unsupported colors */
		gpio_pin_set_dt(
			GPIO_DT_FROM_NODELABEL(gpio_power_led_gate),
			PWR_LED_OFF_LVL);
}

void led_get_brightness_range(enum ec_led_id led_id, uint8_t *brightness_range)
{
	if (led_id == EC_LED_ID_BATTERY_LED) {
		brightness_range[EC_LED_COLOR_AMBER] = 1;
		brightness_range[EC_LED_COLOR_WHITE] = 1;
	} else if (led_id == EC_LED_ID_POWER_LED) {
		brightness_range[EC_LED_COLOR_WHITE] = 1;
	}
}

int led_set_brightness(enum ec_led_id led_id, const uint8_t *brightness)
{
	if (led_id == EC_LED_ID_BATTERY_LED) {
		led_auto_control(led_id, 0);
		if (brightness[EC_LED_COLOR_AMBER] != 0)
			led_set_color_battery(EC_LED_COLOR_AMBER);
		else if (brightness[EC_LED_COLOR_WHITE] != 0)
			led_set_color_battery(EC_LED_COLOR_WHITE);
		else if (brightness[LED_OFF] != 0)
			led_set_color_battery(LED_OFF);
		else {
			led_auto_control(led_id, 1);
			led_set_color_battery(LED_OFF);
		}
	} else if (led_id == EC_LED_ID_POWER_LED) {
		if (brightness[EC_LED_COLOR_WHITE] != 0)
			led_set_color_power(EC_LED_COLOR_WHITE);
		else
			led_set_color_power(LED_OFF);
	}

	return EC_SUCCESS;
}
```

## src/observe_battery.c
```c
#include <stdint.h>

#include "adc.h"
#include "dps.h"
#include "atomic.h"
#include "battery.h"
#include "console.h"
#include "charger.h"
#include "charge_manager.h"
#include "charge_state.h"
#include "charge_state_v2.h"
#include "ec_commands.h"
#include "i2c.h"
#include "math_util.h"
#include "task.h"
#include "timer.h"
#include "usb_common.h"
#include "usb_pd.h"
#include "util.h"
#include "usb_pe_sm.h"
#include "driver/charger/sm5803.h"

/* Console output macros */
#define CPRINTF(format, args...) cprintf(CC_CHARGER, format, ## args)
#define CPRINTS(format, args...) cprints(CC_CHARGER, format, ## args)

static int fake_state_of_charge = -1;

static enum ec_status
host_command_get_chg_info(struct host_cmd_handler_args *args)
//static void host_command_get_chg_info(void)
{
	const struct ec_params_get_chg_info *p = args->params;
	struct ec_response_get_chg_info *r1 = args->response;
	struct batt_params batt_new = {0};
	int current=0;
	int cycle_count=0;
    int voltage=0;


	if(p->index !=0)
		return EC_RES_SUCCESS;

	/* RSOC */
	if (sb_read(SB_RELATIVE_STATE_OF_CHARGE, &batt_new.state_of_charge)
	    && fake_state_of_charge < 0)
		batt_new.flags |= BATT_FLAG_BAD_STATE_OF_CHARGE;
	r1->RSOC = batt_new.state_of_charge;

	/*Get battery current and voltage*/
	if (sb_read(SB_VOLTAGE, &batt_new.voltage))
		batt_new.flags |= BATT_FLAG_BAD_VOLTAGE;
	r1->charge_voltage = batt_new.voltage;

	if (sb_read(SB_CURRENT, &batt_new.current))
		batt_new.flags |= BATT_FLAG_BAD_CURRENT;
	else
		batt_new.current = (int16_t)batt_new.current;
	r1->charge_current = batt_new.current;

    /*i2c_read8(charge_manager_get_active_charge_port(), SM5803_ADDR_CHARGER_FLAGS,
            SM5803_REG_CHG_ILIM, &current);*/
    charger_get_input_current(charge_get_active_chg_chip(), &current);
	r1->ChargingCurrent = current;

	/*rv = i2c_read8(charge_manager_get_active_charge_port(), SM5803_ADDR_CHARGER_FLAGS, SM5803_REG_VBAT_FAST_MSB, &regval);
	v = regval << 3;
	rv |= i2c_read8(charge_manager_get_active_charge_port(), SM5803_REG_VBAT_FAST_LSB, &regval);
	v |= (regval & 0x3);*/
    charger_get_voltage(charge_get_active_chg_chip(), &voltage);
	r1->ChargingVoltage = voltage;

	sb_read(SB_REMAINING_CAPACITY, &batt_new.remaining_capacity);
	r1->remaining_capacity = batt_new.remaining_capacity;

	sb_read(SB_FULL_CHARGE_CAPACITY, &batt_new.full_capacity);
	r1->full_capacity = batt_new.full_capacity;

	sb_read(SB_CYCLE_COUNT, &cycle_count);
	r1->cycle_count = cycle_count;

	if (sb_read(SB_TEMPERATURE, &batt_new.temperature))
		batt_new.flags |= BATT_FLAG_BAD_TEMPERATURE;
	r1->temp = batt_new.temperature;

	args->response_size = sizeof(*r1);
	return EC_RES_SUCCESS;
}
DECLARE_HOST_COMMAND(EC_CMD_GET_CHARGER_INFO, host_command_get_chg_info, EC_VER_MASK(0));
```

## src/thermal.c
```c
/* Copyright 2022 The ChromiumOS Authors.
 * Use of this source code is governed by a BSD-style license that can be
 * found in the LICENSE file.
 */

#include "chipset.h"
#include "common.h"
#include "console.h"
#include "fan.h"
#include "hooks.h"
#include "host_command.h"
#include "tablet_mode.h"
#include "temp_sensor.h"
#include "thermal.h"
#include "util.h"
/* Console output macros */
#define CPUTS(outstr) cputs(CC_THERMAL, outstr)
#define CPRINTS(format, args...) cprints(CC_THERMAL, format, ##args)

enum temp_sensor_id {
	TEMP_SENSOR_1_DDR_SOC,
	TEMP_SENSOR_2_FAN,
	TEMP_SENSOR_3_CHARGER,
	TEMP_SENSOR_COUNT
};

struct fan_step {
	/*
	 * Sensor 1~4 trigger point, set -1 if we're not using this
	 * sensor to determine fan speed.
	 */
	int8_t on[TEMP_SENSOR_COUNT];
	/*
	 * Sensor 1~4 trigger point, set -1 if we're not using this
	 * sensor to determine fan speed.
	 */
	int8_t off[TEMP_SENSOR_COUNT];
	/* Fan rpm */
	uint16_t rpm[FAN_CH_COUNT];
	/* Fan rpm for tablet mode */
	uint16_t rpm_tablet[FAN_CH_COUNT];
};

/*
 * TODO(b/167931578) Only monitor sensor3 for now.
 * Will add more sensors support if needed.
 */
static const struct fan_step fan_table[] = {
	{
		/* level 0 */
		.on = { 43, -1, -1 },
		.off = { 0, -1, -1 },
		.rpm = { 0 },
		.rpm_tablet = { 0 },
	},
	{
		/* level 1 */
		.on = { 45, -1, -1 },
		.off = { 43, -1, -1 },
		.rpm = { 2700 },
		.rpm_tablet = { 2700 },
	},
	{
		/* level 2 */
		.on = { 46, -1, -1 },
		.off = { 44, -1, -1 },
		.rpm = { 3100 },
		.rpm_tablet = { 3100 },
	},
	{
		/* level 3 */
		.on = { 48, -1, -1 },
		.off = { 45, -1, -1 },
		.rpm = { 3500 },
		.rpm_tablet = { 3500 },
	},
	{
		/* level 4 */
		.on = { 50, -1, -1 },
		.off = { 47, -1, -1 },
		.rpm = { 4000 },
		.rpm_tablet = { 4000 },
	},
	{
		/* level 5 */
		.on = { 52, -1, -1 },
		.off = { 49, -1, -1 },
		.rpm = { 4500 },
		.rpm_tablet = { 4500 },
	},
};
const int num_fan_levels = ARRAY_SIZE(fan_table);

int fan_table_to_rpm(int fan, int *temp, enum temp_sensor_id temp_sensor)
{
	/* current fan level */
	static int current_level;
	/* previous fan level */
	static int prev_current_level;

	/* previous sensor temperature */
	static int prev_temp[TEMP_SENSOR_COUNT];
	int i;
	int new_rpm = 0;

	/*
	 * Compare the current and previous temperature, we have
	 * the three paths :
	 *  1. decreasing path. (check the release point)
	 *  2. increasing path. (check the trigger point)
	 *  3. invariant path. (return the current RPM)
	 */
	if (temp[temp_sensor] < prev_temp[temp_sensor]) {
		for (i = current_level; i > 0; i--) {
			if (temp[temp_sensor] < fan_table[i].off[temp_sensor])
				current_level = i - 1;
			else
				break;
		}
	} else if (temp[temp_sensor] > prev_temp[temp_sensor]) {
		for (i = current_level; i < num_fan_levels; i++) {
			if (temp[temp_sensor] >= fan_table[i].on[temp_sensor])
				current_level = i;
			else
				break;
		}
	}
	if (current_level < 0)
		current_level = 0;

	if (current_level != prev_current_level) {
		CPRINTS("temp: %d, prev_temp: %d", temp[temp_sensor],
			prev_temp[temp_sensor]);
		CPRINTS("current_level: %d", current_level);
	}

	prev_temp[temp_sensor] = temp[temp_sensor];
	prev_current_level = current_level;

	if (tablet_get_mode()) {
		new_rpm = fan_table[current_level].rpm_tablet[0];
	} else {
		new_rpm = fan_table[current_level].rpm[0];
	}
	return new_rpm;
}
void board_override_fan_control(int fan, int *temp)
{
	if (chipset_in_state(CHIPSET_STATE_ON)) {
		fan_set_rpm_mode(0, 1);
		fan_set_rpm_target(0, fan_table_to_rpm(0, temp,
						       TEMP_SENSOR_1_DDR_SOC));
	} else if (chipset_in_state(CHIPSET_STATE_ANY_SUSPEND)) {
		/* Stop fan when enter S0ix */
		fan_set_rpm_mode(0, 1);
		fan_set_rpm_target(0, 0);
	}
}
```

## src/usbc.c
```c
/* Copyright 2022 The ChromiumOS Authors
 * Use of this source code is governed by a BSD-style license that can be
 * found in the LICENSE file.
 */

#include <zephyr/logging/log.h>
#include <ap_power/ap_power.h>

#include "charge_state_v2.h"
#include "chipset.h"
#include "hooks.h"
#include "usb_mux.h"
#include "system.h"
#include "driver/charger/sm5803.h"
#include "driver/tcpm/it83xx_pd.h"
#include "driver/tcpm/ps8xxx_public.h"
#include "driver/tcpm/tcpci.h"
#include "hooks.h"
#include "system.h"
#include "usb_mux.h"

#include <zephyr/logging/log.h>

#include "nissa_common.h"

LOG_MODULE_DECLARE(nissa, CONFIG_NISSA_LOG_LEVEL);

struct tcpc_config_t tcpc_config[CONFIG_USB_PD_PORT_MAX_COUNT] = {
	{
		.bus_type = EC_BUS_TYPE_EMBEDDED,
		/* TCPC is embedded within EC so no i2c config needed */
		.drv = &it8xxx2_tcpm_drv,
		/* Alert is active-low, push-pull */
		.flags = 0,
	},
	{
		/*
		 * Sub-board: optional PS8745 TCPC+redriver. Behaves the same
		 * as PS8815.
		 */
		.bus_type = EC_BUS_TYPE_I2C,
		.i2c_info = {
			.port = I2C_PORT_USB_C1_TCPC,
			.addr_flags = PS8XXX_I2C_ADDR1_FLAGS,
		},
		.drv = &ps8xxx_tcpm_drv,
		/* PS8745 implements TCPCI 2.0 */
		.flags = TCPC_FLAGS_TCPCI_REV2_0,
	},
};

/* Vconn control for integrated ITE TCPC */
void board_pd_vconn_ctrl(int port, enum usbpd_cc_pin cc_pin, int enabled)
{
	/* Vconn control is only for port 0 */
	if (port)
		return;

	if (cc_pin == USBPD_CC_PIN_1)
		gpio_pin_set_dt(
			GPIO_DT_FROM_NODELABEL(gpio_en_usb_c0_cc1_vconn),
			!!enabled);
	else
		gpio_pin_set_dt(
			GPIO_DT_FROM_NODELABEL(gpio_en_usb_c0_cc2_vconn),
			!!enabled);
}

__override bool pd_check_vbus_level(int port, enum vbus_level level)
{
	return sm5803_check_vbus_level(port, level);
}

/*
 * Putting chargers into LPM when in suspend reduces power draw by about 8mW
 * per charger, but also seems critical to correct operation in source mode:
 * if chargers are not in LPM when a sink is first connected, VBUS sourcing
 * works even if the partner is later removed (causing LPM entry) and
 * reconnected (causing LPM exit). If in LPM initially, sourcing VBUS
 * consistently causes the charger to report (apparently spurious) overcurrent
 * failures.
 *
 * In short, this is important to making things work correctly but we don't
 * understand why.
 */
static void board_chargers_suspend(struct ap_power_ev_callback *const cb,
				   const struct ap_power_ev_data data)
{
	void (*fn)(int chgnum);

	switch (data.event) {
	case AP_POWER_SUSPEND:
		fn = sm5803_enable_low_power_mode;
		break;
	case AP_POWER_RESUME:
		fn = sm5803_disable_low_power_mode;
		break;
	default:
		LOG_WRN("%s: power event %d is not recognized", __func__,
			data.event);
		return;
	}

	fn(CHARGER_PRIMARY);
	if (board_get_charger_chip_count() > 1)
		fn(CHARGER_SECONDARY);
}

static int board_chargers_suspend_init(const struct device *unused)
{
	static struct ap_power_ev_callback cb = {
		.handler = board_chargers_suspend,
		.events = AP_POWER_SUSPEND | AP_POWER_RESUME,
	};
	ap_power_ev_add_callback(&cb);
	return 0;
}
SYS_INIT(board_chargers_suspend_init, APPLICATION, 0);

int board_set_active_charge_port(int port)
{
	int is_real_port = (port >= 0 && port < board_get_usb_pd_port_count());
	int i;
	int old_port;
	int rv;

	if (!is_real_port && port != CHARGE_PORT_NONE)
		return EC_ERROR_INVAL;

	old_port = charge_manager_get_active_charge_port();
	LOG_INF("Charge update: p%d -> p%d", old_port, port);

	/* Check if port is sourcing VBUS. */
	if (port != CHARGE_PORT_NONE && charger_is_sourcing_otg_power(port)) {
		LOG_WRN("Skip enable p%d: already sourcing", port);
		return EC_ERROR_INVAL;
	}

	/* Disable sinking on all ports except the desired one */
	for (i = 0; i < board_get_usb_pd_port_count(); i++) {
		if (i == port)
			continue;

		if (sm5803_vbus_sink_enable(i, 0))
			/*
			 * Do not early-return because this can fail during
			 * power-on which would put us into a loop.
			 */
			LOG_WRN("p%d: sink path disable failed.", i);
	}

	/* Don't enable anything (stop here) if no ports were requested */
	if ((port == CHARGE_PORT_NONE) || (old_port == port))
		return EC_SUCCESS;

	/*
	 * Stop the charger IC from switching while changing ports.  Otherwise,
	 * we can overcurrent the adapter we're switching to. (crbug.com/926056)
	 */
	if (old_port != CHARGE_PORT_NONE)
		charger_discharge_on_ac(1);

	/* Enable requested charge port. */
	rv = sm5803_vbus_sink_enable(port, 1);
	if (rv)
		LOG_WRN("p%d: sink path enable failed: code %d", port, rv);

	/* Allow the charger IC to begin/continue switching. */
	charger_discharge_on_ac(0);

	return rv;
}

uint16_t tcpc_get_alert_status(void)
{
	/*
	 * TCPC 0 is embedded in the EC and processes interrupts in the chip
	 * code (it83xx/intc.c). This function only needs to poll port C1 if
	 * present.
	 */
	uint16_t status = 0;
	int regval;

	/* Is the C1 port present and its IRQ line asserted? */
	if (board_get_usb_pd_port_count() == 2 &&
	    !gpio_pin_get_dt(GPIO_DT_FROM_ALIAS(gpio_usb_c1_int_odl))) {
		/*
		 * C1 IRQ is shared between BC1.2 and TCPC; poll TCPC to see if
		 * it asserted the IRQ.
		 */
		if (!tcpc_read16(1, TCPC_REG_ALERT, &regval)) {
			if (regval)
				status = PD_STATUS_TCPC_ALERT_1;
		}
	}

	return status;
}

void pd_power_supply_reset(int port)
{
	int prev_en;

	if (port < 0 || port >= board_get_usb_pd_port_count())
		return;

	prev_en = charger_is_sourcing_otg_power(port);

	/* Disable Vbus */
	charger_enable_otg_power(port, 0);

	/* Discharge Vbus if previously enabled */
	if (prev_en)
		sm5803_set_vbus_disch(port, 1);

	/* Notify host of power info change. */
	pd_send_host_event(PD_EVENT_POWER_CHANGE);
}

int pd_set_power_supply_ready(int port)
{
	enum ec_error_list rv;

	if (port < 0 || port > board_get_usb_pd_port_count()) {
		LOG_WRN("Port C%d does not exist, cannot enable VBUS", port);
		return EC_ERROR_INVAL;
	}

	/* Disable sinking */
	rv = sm5803_vbus_sink_enable(port, 0);
	if (rv) {
		LOG_WRN("C%d failed to disable sinking: %d", port, rv);
		return rv;
	}

	/* Disable Vbus discharge */
	rv = sm5803_set_vbus_disch(port, 0);
	if (rv) {
		LOG_WRN("C%d failed to clear VBUS discharge: %d", port, rv);
		return rv;
	}

	/* Provide Vbus */
	rv = charger_enable_otg_power(port, 1);
	if (rv) {
		LOG_WRN("C%d failed to enable VBUS sourcing: %d", port, rv);
		return rv;
	}

	/* Notify host of power info change. */
	pd_send_host_event(PD_EVENT_POWER_CHANGE);

	return EC_SUCCESS;
}

__override void typec_set_source_current_limit(int port, enum tcpc_rp_value rp)
{
	int rv;
	const int current = rp == TYPEC_RP_3A0 ? 3000 : 1500;

	rv = charger_set_otg_current_voltage(port, current, 5000);
	if (rv != EC_SUCCESS) {
		LOG_WRN("Failed to set source ilimit on port %d to %d: %d",
			port, current, rv);
	}
}

void board_reset_pd_mcu(void)
{
	/*
	 * Do nothing. The integrated TCPC for C0 lacks a dedicated reset
	 * command, and C1 (if present) doesn't have a reset pin connected
	 * to the EC.
	 */
}

#define INT_RECHECK_US 5000

/* C0 interrupt line shared by BC 1.2 and charger */

static void check_c0_line(void);
DECLARE_DEFERRED(check_c0_line);

static void notify_c0_chips(void)
{
	usb_charger_task_set_event(0, USB_CHG_EVENT_BC12);
	sm5803_interrupt(0);
}

static void check_c0_line(void)
{
	/*
	 * If line is still being held low, see if there's more to process from
	 * one of the chips
	 */
	if (!gpio_pin_get_dt(GPIO_DT_FROM_NODELABEL(gpio_usb_c0_int_odl))) {
		notify_c0_chips();
		hook_call_deferred(&check_c0_line_data, INT_RECHECK_US);
	}
}

void usb_c0_interrupt(enum gpio_signal s)
{
	/* Cancel any previous calls to check the interrupt line */
	hook_call_deferred(&check_c0_line_data, -1);

	/* Notify all chips using this line that an interrupt came in */
	notify_c0_chips();

	/* Check the line again in 5ms */
	hook_call_deferred(&check_c0_line_data, INT_RECHECK_US);
}

/* C1 interrupt line shared by BC 1.2, TCPC, and charger */
static void check_c1_line(void);
DECLARE_DEFERRED(check_c1_line);

static void notify_c1_chips(void)
{
	schedule_deferred_pd_interrupt(1);
	usb_charger_task_set_event(1, USB_CHG_EVENT_BC12);
	/* Charger is handled in board_process_pd_alert */
}

static void check_c1_line(void)
{
	/*
	 * If line is still being held low, see if there's more to process from
	 * one of the chips.
	 */
	if (!gpio_pin_get_dt(GPIO_DT_FROM_ALIAS(gpio_usb_c1_int_odl))) {
		notify_c1_chips();
		hook_call_deferred(&check_c1_line_data, INT_RECHECK_US);
	}
}

void usb_c1_interrupt(enum gpio_signal s)
{
	/* Cancel any previous calls to check the interrupt line */
	hook_call_deferred(&check_c1_line_data, -1);

	/* Notify all chips using this line that an interrupt came in */
	notify_c1_chips();

	/* Check the line again in 5ms */
	hook_call_deferred(&check_c1_line_data, INT_RECHECK_US);
}

/*
 * Check state of IRQ lines at startup, ensuring an IRQ that happened before
 * the EC started up won't get lost (leaving the IRQ line asserted and blocking
 * any further interrupts on the port).
 *
 * Although the PD task will check for pending TCPC interrupts on startup,
 * the charger sharing the IRQ will not be polled automatically.
 */
void board_handle_initial_typec_irq(void)
{
	check_c0_line();
	check_c1_line();
}
/*
 * This must run after sub-board detection (which happens in EC main()),
 * but isn't depended on by anything else either.
 */
DECLARE_HOOK(HOOK_INIT, board_handle_initial_typec_irq, HOOK_PRIO_LAST);

/*
 * Handle charger interrupts in the PD task. Not doing so can lead to a priority
 * inversion where we fail to respond to TCPC alerts quickly enough because we
 * don't get another edge on a shared IRQ until the charger interrupt is cleared
 * (or the IRQ is polled again), which happens in the low-priority charger task:
 * the high-priority type-C handler is thus blocked on the lower-priority
 * charger.
 *
 * To avoid that, we run charger interrupts at the same priority.
 */
void board_process_pd_alert(int port)
{
	/*
	 * Port 0 doesn't use an external TCPC, so its interrupts don't need
	 * this special handling.
	 */
	if (port == 1 &&
	    !gpio_pin_get_dt(GPIO_DT_FROM_ALIAS(gpio_usb_c1_int_odl))) {
		sm5803_handle_interrupt(port);
	}
}

int pd_snk_is_vbus_provided(int port)
{
	int chg_det = 0;

	sm5803_get_chg_det(port, &chg_det);

	return chg_det;
}
```
